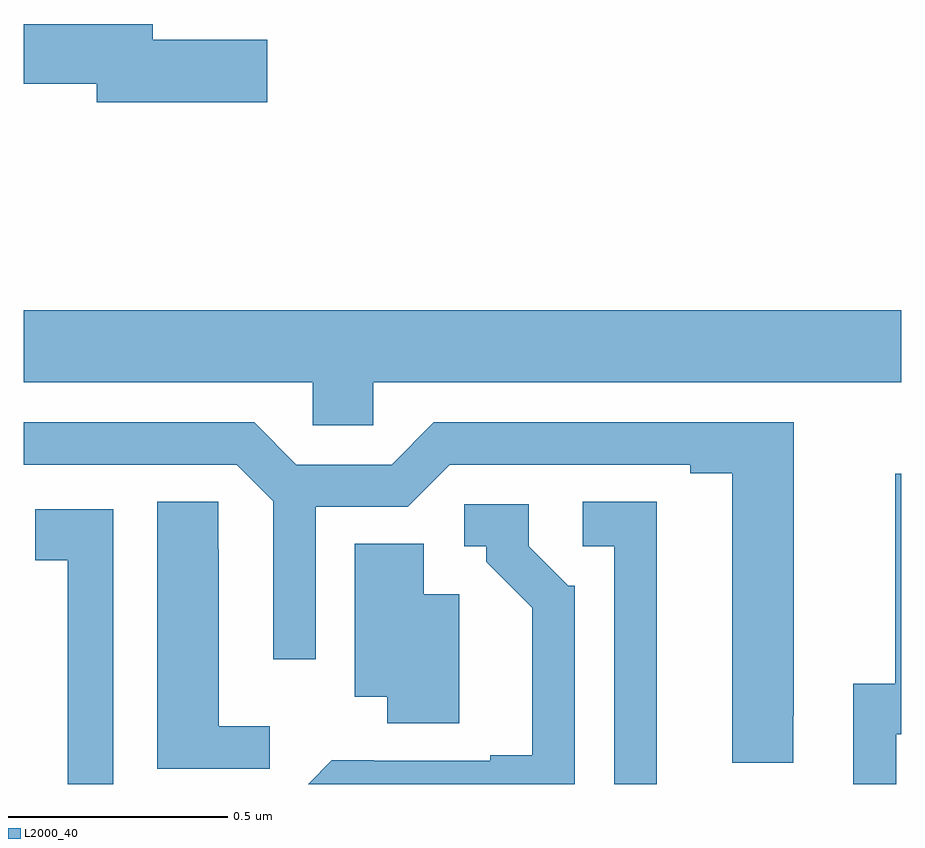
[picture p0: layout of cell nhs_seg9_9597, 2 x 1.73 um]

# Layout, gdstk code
import gdstk
lib = gdstk.Library(unit=1e-6, precision=1e-09)
def P(c, l, *ps):  # polygons
    for p in ps: c.add(gdstk.Polygon(p, *l))
L2000_40 = (2000, 40)

nhs_seg9_9597 = lib.new_cell('nhs_seg9_9597')
P(nhs_seg9_9597, L2000_40, [(232.555,1201.196),(232.294,1201.196),(232.294,1201.232),(232,1201.232),(232,1201.096),(232.166,1201.096),(232.166,1201.054),(232.555,1201.054)],
  [(232.797,1200.416),(234,1200.416),(234,1200.58),(232,1200.58),(232,1200.416),(232.659,1200.416),(232.659,1200.318),(232.797,1200.318)],
  [(233.754,1199.656),(233.755,1199.656),(233.755,1200.324),(232.935,1200.324),(232.839,1200.228),(232.621,1200.228),(232.525,1200.324),(232,1200.324),(232,1200.228),(232.485,1200.228),(232.569,1200.144),(232.569,1199.784),(232.665,1199.784),(232.665,1200.132),(232.875,1200.132),(232.971,1200.228),(233.519,1200.228),(233.519,1200.208),(233.615,1200.208),(233.615,1199.548),(233.754,1199.548)],
  [(233.988,1199.613),(234,1199.613),(234,1200.207),(233.986,1200.207),(233.986,1199.729),(233.891,1199.729),(233.891,1199.5),(233.988,1199.5)],
  [(233.443,1200.143),(233.274,1200.143),(233.274,1200.042),(233.346,1200.042),(233.346,1199.5),(233.443,1199.5)],
  [(232.561,1199.632),(232.444,1199.632),(232.444,1200.035),(232.443,1200.035),(232.443,1200.143),(232.304,1200.143),(232.304,1199.535),(232.561,1199.535)],
  [(233.256,1199.952),(233.241,1199.952),(233.151,1200.042),(233.151,1200.138),(233.004,1200.138),(233.004,1200.042),(233.054,1200.042),(233.054,1200.007),(233.159,1199.902),(233.159,1199.566),(233.063,1199.566),(233.063,1199.553),(232.798,1199.553),(232.798,1199.554),(232.702,1199.554),(232.648,1199.5),(233.256,1199.5)],
  [(232.204,1200.126),(232.026,1200.126),(232.026,1200.01),(232.1,1200.01),(232.1,1199.5),(232.204,1199.5)],
  [(232.993,1199.932),(232.912,1199.932),(232.912,1200.047),(232.754,1200.047),(232.754,1199.699),(232.829,1199.699),(232.829,1199.638),(232.993,1199.638)])

lib.write_gds('nhs_seg9_9597.gds')
